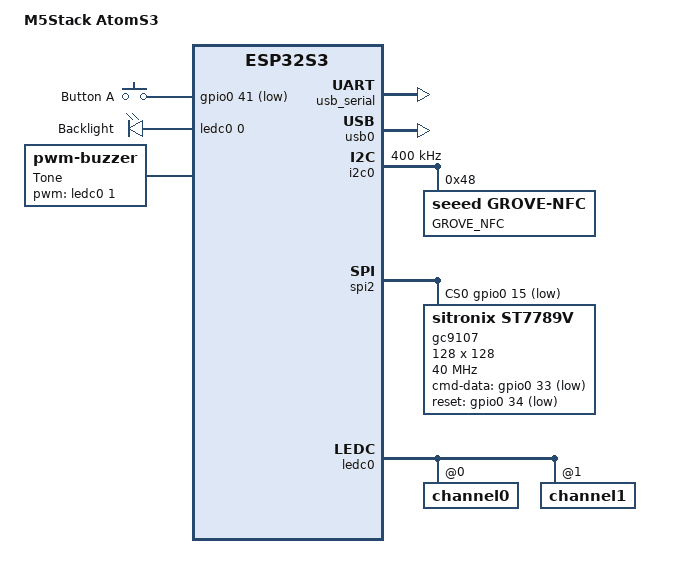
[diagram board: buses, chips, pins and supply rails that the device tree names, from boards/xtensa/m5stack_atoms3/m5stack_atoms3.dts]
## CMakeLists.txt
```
cmake_minimum_required(VERSION 3.20.0)

# Custom board directory (placed alongside app sources, not in Zephyr tree)
set(BOARD_ROOT ${CMAKE_CURRENT_SOURCE_DIR})

find_package(Zephyr REQUIRED HINTS $ENV{ZEPHYR_BASE})
project(grovenfc_zephyr VERSION 1.0.0 LANGUAGES C)

# Custom drivers
add_subdirectory(drivers/grove_nfc)

# Application sources
target_sources(app PRIVATE
    src/main.c
    src/nfc_worker.c
    src/nfc_reader.c
    src/nfc_emulator.c
    src/ui_main.c
    src/storage.c
    src/piano.c
)

target_include_directories(app PRIVATE
    src
    drivers/grove_nfc
)
```

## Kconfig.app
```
menu "GroveNFC Application"

config GROVENFC_APP
    bool "GroveNFC Zephyr Application"
    default y
    help
      Enable the GroveNFC multi-mode NFC application.

config GROVENFC_NFC_POLL_INTERVAL_MS
    int "NFC polling interval (ms)"
    default 200
    depends on GROVENFC_APP
    help
      How often the NFC worker thread polls for cards in reader mode.

config GROVENFC_UI_STACK_SIZE
    int "UI thread stack size (bytes)"
    default 8192
    depends on GROVENFC_APP

config GROVENFC_NFC_STACK_SIZE
    int "NFC worker thread stack size (bytes)"
    default 4096
    depends on GROVENFC_APP

config GROVENFC_PIANO_NOTES
    int "Number of piano note slots"
    default 8
    depends on GROVENFC_APP

endmenu
```

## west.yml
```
manifest:
  version: "0.13"

  defaults:
    remote: zephyrproject

  remotes:
    - name: zephyrproject
      url-base: https://github.com/zephyrproject-rtos

  projects:
    - name: zephyr
      remote: zephyrproject
      revision: v3.7.0
      import:
        # Pull in Zephyr's own west.yml (hal_espressif, mbedtls, lvgl, etc.)
        name-allowlist:
          - cmsis
          - hal_espressif
          - lvgl
          - mbedtls
          - tinycrypt

  self:
    path: grovenfc
    west-commands: scripts/west-commands.yml
```

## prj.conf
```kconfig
# ── Kernel ──────────────────────────────────────────────────────────────────
CONFIG_MAIN_STACK_SIZE=4096
CONFIG_HEAP_MEM_POOL_SIZE=65536
CONFIG_CBPRINTF_FP_SUPPORT=y

# ── Logging ─────────────────────────────────────────────────────────────────
CONFIG_LOG=y
CONFIG_LOG_DEFAULT_LEVEL=3
CONFIG_LOG_BUFFER_SIZE=2048

# ── I2C ─────────────────────────────────────────────────────────────────────
CONFIG_I2C=y

# ── GPIO / Input ─────────────────────────────────────────────────────────────
CONFIG_GPIO=y
CONFIG_INPUT=y
CONFIG_INPUT_GPIO_KEYS=y

# ── SPI (display) ───────────────────────────────────────────────────────────
CONFIG_SPI=y

# ── Display & LVGL ──────────────────────────────────────────────────────────
CONFIG_DISPLAY=y
CONFIG_ST7789V=y

CONFIG_LVGL=y
CONFIG_LV_MEM_SIZE_KILOBYTES=48
CONFIG_LV_USE_LOG=n
CONFIG_LV_USE_LABEL=y
CONFIG_LV_USE_BTN=y
CONFIG_LV_USE_LIST=y
CONFIG_LV_USE_ARC=y
CONFIG_LV_USE_SPINNER=y
CONFIG_LV_USE_BAR=y
CONFIG_LV_USE_MSGBOX=y
CONFIG_LV_USE_TABVIEW=y
CONFIG_LV_FONT_MONTSERRAT_12=y
CONFIG_LV_FONT_MONTSERRAT_14=y
CONFIG_LV_FONT_UNSCII_8=y
CONFIG_LV_COLOR_16_SWAP=y

# ── PWM (backlight + speaker tone) ──────────────────────────────────────────
CONFIG_PWM=y

# ── Flash / NVS (replaces Arduino Preferences) ──────────────────────────────
CONFIG_FLASH=y
CONFIG_FLASH_MAP=y
CONFIG_FLASH_PAGE_LAYOUT=y
CONFIG_NVS=y
CONFIG_SETTINGS=y
CONFIG_SETTINGS_NVS=y

# ── USB CDC (debug console) ──────────────────────────────────────────────────
CONFIG_USB_DEVICE_STACK=y
CONFIG_USB_CDC_ACM=y
CONFIG_UART_LINE_CTRL=y
CONFIG_SERIAL=y
CONFIG_CONSOLE=y
CONFIG_UART_CONSOLE=y

# ── WiFi (ESP32 native) ──────────────────────────────────────────────────────
CONFIG_WIFI=y
CONFIG_ESP32_WIFI=y
CONFIG_NET_L2_ETHERNET=y
CONFIG_NET_L2_WIFI_MGMT=y
CONFIG_NETWORKING=y
CONFIG_NET_IPV4=y
CONFIG_NET_SOCKETS=y
CONFIG_NET_SOCKETS_POSIX_NAMES=y
CONFIG_DNS_RESOLVER=y
CONFIG_NET_TCP=y
CONFIG_NET_UDP=y
CONFIG_NET_DHCPV4=y
CONFIG_NET_MGMT=y
CONFIG_NET_MGMT_EVENT=y

# ── Thread CPU pinning (dual-core: NFC→core0, UI→core1) ─────────────────────
CONFIG_SCHED_CPU_MASK=y

# ── Application ─────────────────────────────────────────────────────────────
CONFIG_GROVENFC_DRIVER=y
CONFIG_GROVENFC_APP=y
```

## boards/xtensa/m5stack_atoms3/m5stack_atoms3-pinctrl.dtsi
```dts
#include <zephyr/dt-bindings/pinctrl/esp32s3-pinctrl.h>

&pinctrl {
	/* ── I2C0: SDA=GPIO2, SCL=GPIO1 (Grove PORT-A) ──────────────────── */
	i2c0_default: i2c0_default {
		group1 {
			pinmux = <I2C0_SDA_GPIO2>,
			         <I2C0_SCL_GPIO1>;
			bias-pull-up;
			drive-open-drain;
			output-high;
		};
	};

	/* ── SPI2: MOSI=GPIO21, SCK=GPIO17, CS=GPIO15 (display) ─────────── */
	spi2_default: spi2_default {
		group1 {
			pinmux = <SPIM2_MOSI_GPIO21>,
			         <SPIM2_SCLK_GPIO17>;
			output-enable;
		};
		group2 {
			pinmux = <SPIM2_CSEL_GPIO15>;
			output-enable;
		};
	};

	/* ── LEDC: CH0=GPIO16 (backlight), CH1=GPIO38 (buzzer) ─────────── */
	ledc0_default: ledc0_default {
		group1 {
			pinmux = <LEDC_CH0_GPIO16>,
			         <LEDC_CH1_GPIO38>;
			output-enable;
		};
	};
};
```

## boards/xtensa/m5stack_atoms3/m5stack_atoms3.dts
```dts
/dts-v1/;

#include <espressif/esp32s3/esp32s3_mini_n8.dtsi>
#include "m5stack_atoms3-pinctrl.dtsi"
#include <zephyr/dt-bindings/input/input-event-codes.h>

/ {
	model = "M5Stack AtomS3";
	compatible = "m5stack,atoms3";

	chosen {
		zephyr,sram    = &sram0;
		zephyr,flash   = &flash0;
		zephyr,console = &cdc_acm_uart0;
		zephyr,shell-uart = &cdc_acm_uart0;
		zephyr,display = &gc9107;
	};

	aliases {
		sw0        = &btn_a;
		watchdog0  = &wdt0;
		pwm-tone   = &pwm_tone;
		pwm-bl     = &pwm_bl;
		grove-nfc  = &grove_nfc;
	};

	/* ── Button ─────────────────────────────────────────────────────── */
	buttons {
		compatible = "gpio-keys";
		btn_a: button_a {
			gpios = <&gpio0 41 (GPIO_PULL_UP | GPIO_ACTIVE_LOW)>;
			label = "Button A";
			zephyr,code = <INPUT_KEY_0>;
		};
	};

	/* ── PWM nodes ──────────────────────────────────────────────────── */
	/*  Channel 0 → backlight (GPIO16)                                   */
	pwm_bl: pwm-backlight {
		compatible = "pwm-leds";
		pwm_bl_ch: pwm_bl_ch {
			pwms = <&ledc0 0 PWM_HZ(1000) PWM_POLARITY_NORMAL>;
			label = "Backlight";
		};
	};

	/*  Channel 1 → piezo/speaker tone (GPIO (choose free pin))         */
	pwm_tone: pwm-tone {
		compatible = "pwm-buzzer";
		pwms = <&ledc0 1 PWM_HZ(1000) PWM_POLARITY_NORMAL>;
		label = "Tone";
	};
};

/* ── USB CDC (virtual serial port) ─────────────────────────────────────── */
&usb_serial {
	status = "okay";
};

zephyr_udc0: &usb0 {
	status = "okay";
	cdc_acm_uart0: cdc_acm_uart0 {
		compatible = "zephyr,cdc-acm-uart";
	};
};

/* ── I2C0: Grove PORT-A (SDA=GPIO2, SCL=GPIO1) ─────────────────────────── */
&i2c0 {
	status = "okay";
	clock-frequency = <I2C_BITRATE_FAST>;  /* 400 kHz */
	pinctrl-0 = <&i2c0_default>;
	pinctrl-names = "default";

	grove_nfc: grove_nfc@48 {
		compatible = "seeed,grove-nfc";
		reg = <0x48>;
		label = "GROVE_NFC";
		status = "okay";
	};
};

/* ── SPI2: GC9107 Display ───────────────────────────────────────────────── */
&spi2 {
	status = "okay";
	pinctrl-0 = <&spi2_default>;
	pinctrl-names = "default";
	cs-gpios = <&gpio0 15 GPIO_ACTIVE_LOW>;

	/* GC9107 is ST7789V-compatible in SPI mode */
	gc9107: gc9107@0 {
		compatible = "sitronix,st7789v";
		reg = <0>;
		spi-max-frequency = <DT_FREQ_M(40)>;
		cmd-data-gpios = <&gpio0 33 GPIO_ACTIVE_LOW>;
		reset-gpios    = <&gpio0 34 GPIO_ACTIVE_LOW>;
		width    = <128>;
		height   = <128>;
		x-offset = <2>;
		y-offset = <1>;
		/* GC9107 init values (tuned for AtomS3 panel) */
		vcom        = <0x19>;
		gctrl       = <0x35>;
		vrhs        = <0x12>;
		vdvs        = <0x20>;
		mdac        = <0x00>;
		gamma       = <0x01>;
		colmod      = <0x55>;    /* 16-bit RGB565 */
		lcm         = <0x2c>;
		porch-param = [0c 0c 00 33 33];
		cmd2en-param = [5a 69 02 01];
		pwctrl1-param = [a4 a1];
		pvgam-param = [D0 08 11 08 08 28 2E 48 41 2D 10 09 09 21 21];
		nvgam-param = [D0 08 10 08 06 06 39 44 51 0B 16 14 2F 31];
		ram-param   = [00 F8];
		rgb-param   = [CD 08 14];
	};
};

/* ── LEDC (PWM) ─────────────────────────────────────────────────────────── */
&ledc0 {
	status = "okay";
	pinctrl-0 = <&ledc0_default>;
	pinctrl-names = "default";
	#address-cells = <1>;
	#size-cells = <0>;

	/* Channel 0: display backlight (GPIO16) */
	channel0@0 {
		reg = <0x0>;
		timer = <0>;
	};

	/* Channel 1: speaker/buzzer tone (GPIO pin chosen at build time) */
	channel1@1 {
		reg = <0x1>;
		timer = <1>;
	};
};

/* ── Flash partitions (8 MB) ────────────────────────────────────────────── */
&flash0 {
	partitions {
		compatible = "fixed-partitions";
		#address-cells = <1>;
		#size-cells = <1>;

		/* Zephyr image (first 6 MB) */
		slot0_partition: partition@10000 {
			label = "image-0";
			reg = <0x00010000 0x5F0000>;
		};

		/* NVS settings storage (last 512 KB) */
		storage_partition: partition@780000 {
			label = "storage";
			reg = <0x00780000 0x80000>;
		};
	};
};
```

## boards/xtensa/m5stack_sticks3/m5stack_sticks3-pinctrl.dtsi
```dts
#include <zephyr/dt-bindings/pinctrl/esp32s3-pinctrl.h>

&pinctrl {
	/* I2C0: SDA=GPIO9, SCL=GPIO10 (StickS3 Grove port) */
	i2c0_default: i2c0_default {
		group1 {
			pinmux = <I2C0_SDA_GPIO9>,
			         <I2C0_SCL_GPIO10>;
			bias-pull-up;
			drive-open-drain;
			output-high;
		};
	};

	/* SPI2: display (verify actual StickS3 pins from schematic) */
	spi2_default: spi2_default {
		group1 {
			pinmux = <SPIM2_MOSI_GPIO13>,
			         <SPIM2_SCLK_GPIO14>;
			output-enable;
		};
		group2 {
			pinmux = <SPIM2_CSEL_GPIO12>;
			output-enable;
		};
	};

	/* LEDC: CH0 = backlight */
	ledc0_default: ledc0_default {
		group1 {
			pinmux = <LEDC_CH0_GPIO27>;
			output-enable;
		};
	};
};
```

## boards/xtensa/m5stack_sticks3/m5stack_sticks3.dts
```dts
/dts-v1/;

#include <espressif/esp32s3/esp32s3_fn8.dtsi>
#include "m5stack_sticks3-pinctrl.dtsi"
#include <zephyr/dt-bindings/input/input-event-codes.h>

/ {
	model = "M5Stack StickS3";
	compatible = "m5stack,sticks3";

	chosen {
		zephyr,sram    = &sram0;
		zephyr,flash   = &flash0;
		zephyr,console = &cdc_acm_uart0;
		zephyr,shell-uart = &cdc_acm_uart0;
		zephyr,display = &st7789;
	};

	aliases {
		sw0       = &btn_a;
		sw1       = &btn_b;
		grove-nfc = &grove_nfc;
		pwm-tone  = &pwm_tone;
	};

	buttons {
		compatible = "gpio-keys";
		btn_a: button_a {
			gpios = <&gpio0 37 (GPIO_PULL_UP | GPIO_ACTIVE_LOW)>;
			label = "Button A";
			zephyr,code = <INPUT_KEY_0>;
		};
		btn_b: button_b {
			gpios = <&gpio0 39 (GPIO_PULL_UP | GPIO_ACTIVE_LOW)>;
			label = "Button B";
			zephyr,code = <INPUT_KEY_1>;
		};
	};

	pwm_tone: pwm-tone {
		compatible = "pwm-buzzer";
		pwms = <&ledc0 1 PWM_HZ(1000) PWM_POLARITY_NORMAL>;
		label = "Tone";
	};
};

&usb0 {
	status = "okay";
	cdc_acm_uart0: cdc_acm_uart0 {
		compatible = "zephyr,cdc-acm-uart";
	};
};

&i2c0 {
	status = "okay";
	clock-frequency = <I2C_BITRATE_FAST>;
	pinctrl-0 = <&i2c0_default>;
	pinctrl-names = "default";

	grove_nfc: grove_nfc@48 {
		compatible = "seeed,grove-nfc";
		reg = <0x48>;
		label = "GROVE_NFC";
		status = "okay";
	};
};

&spi2 {
	status = "okay";
	pinctrl-0 = <&spi2_default>;
	pinctrl-names = "default";
	cs-gpios = <&gpio0 12 GPIO_ACTIVE_LOW>;

	st7789: st7789@0 {
		compatible = "sitronix,st7789v";
		reg = <0>;
		spi-max-frequency = <DT_FREQ_M(40)>;
		cmd-data-gpios = <&gpio0 11 GPIO_ACTIVE_LOW>;
		reset-gpios    = <&gpio0 15 GPIO_ACTIVE_LOW>;
		width    = <135>;
		height   = <240>;
		x-offset = <52>;
		y-offset = <40>;
		vcom     = <0x2B>;
		gctrl    = <0x35>;
		vrhs     = <0x0F>;
		vdvs     = <0x20>;
		mdac     = <0x00>;
		gamma    = <0x01>;
		colmod   = <0x55>;
		lcm      = <0x2C>;
		porch-param  = [0c 0c 00 33 33];
		cmd2en-param = [5a 69 02 c3];
		pwctrl1-param = [52 A1];
		pvgam-param  = [D0 08 0F 0A 0A 26 2D 44 4B 39 14 13 25 2A];
		nvgam-param  = [D0 08 10 09 09 25 2C 43 4C 38 15 13 24 29];
		ram-param    = [00 F8];
		rgb-param    = [CD 08 14];
	};
};

&ledc0 {
	status = "okay";
	pinctrl-0 = <&ledc0_default>;
	pinctrl-names = "default";
	#address-cells = <1>;
	#size-cells = <0>;
	channel0@0 { reg = <0x0>; timer = <0>; };
	channel1@1 { reg = <0x1>; timer = <1>; };
};

&flash0 {
	partitions {
		compatible = "fixed-partitions";
		#address-cells = <1>;
		#size-cells = <1>;
		slot0_partition: partition@10000 {
			label = "image-0";
			reg = <0x00010000 0x5F0000>;
		};
		storage_partition: partition@780000 {
			label = "storage";
			reg = <0x00780000 0x80000>;
		};
	};
};
```

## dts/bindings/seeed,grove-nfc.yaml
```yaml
/* dts binding: seeed,grove-nfc */
description: Seeed Grove NFC module (I2C register-mapped NFC front-end)

compatible: "seeed,grove-nfc"

include: i2c-device.yaml

properties:
  label:
    type: string
    required: false
```

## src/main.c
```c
/*
 * main.c — GroveNFC Zephyr application entry point.
 *
 * Boot sequence:
 *   1. Initialise storage (NVS)
 *   2. Initialise piano (load card→note mappings)
 *   3. Power on display backlight via PWM
 *   4. Start NFC worker thread (Core 0)
 *   5. Start LVGL UI thread (Core 1)
 *   6. Return — the main thread exits and Zephyr manages the rest.
 */

#include <zephyr/kernel.h>
#include <zephyr/device.h>
#include <zephyr/drivers/pwm.h>
#include <zephyr/drivers/display.h>
#include <zephyr/logging/log.h>
#include <lvgl.h>

#include "nfc_worker.h"
#include "ui_main.h"
#include "storage.h"
#include "piano.h"

LOG_MODULE_REGISTER(main, CONFIG_LOG_DEFAULT_LEVEL);

/* ── Backlight (PWM alias `backlight` in DTS) ───────────────────────────── */
#define BL_NODE DT_ALIAS(pwm_bl)

#if DT_NODE_HAS_STATUS(BL_NODE, okay)
static const struct pwm_dt_spec s_bl = PWM_DT_SPEC_GET(BL_NODE);

static void backlight_set(uint8_t pct)
{
    if (!device_is_ready(s_bl.dev)) return;
    uint32_t period_ns = 1000000u; /* 1 kHz */
    uint32_t pulse_ns  = (uint32_t)(period_ns / 100u) * pct;
    pwm_set_dt(&s_bl, period_ns, pulse_ns);
}
#else
static void backlight_set(uint8_t pct) { ARG_UNUSED(pct); }
#endif

/* ── Display init ───────────────────────────────────────────────────────── */
static void display_init(void)
{
    const struct device *display = DEVICE_DT_GET(DT_CHOSEN(zephyr_display));
    if (!device_is_ready(display)) {
        LOG_ERR("Display not ready");
        return;
    }
    display_blanking_off(display);
    backlight_set(80);
    LOG_INF("Display ready");
}

/* ── Entry point ────────────────────────────────────────────────────────── */

int main(void)
{
    LOG_INF("GroveNFC Zephyr starting");

    /* 1. Storage */
    if (storage_init() != 0) {
        LOG_WRN("Storage init failed — running without persistence");
    }

    /* 2. Piano */
    piano_init();

    /* 3. Display + backlight */
    display_init();

    /* 4. NFC worker (Core 0) */
    if (nfc_worker_init() != 0) {
        LOG_ERR("NFC worker init failed");
    }

    /* 5. UI thread (Core 1) */
    ui_main_start();

    LOG_INF("Boot complete");
    return 0;
}
```

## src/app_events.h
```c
/*
 * app_events.h — Shared event types between NFC worker and UI threads.
 *
 * Uses Zephyr k_msgq for lock-free single-producer/consumer queues.
 * Structs are kept small (≤64 bytes) so the message queues don't waste RAM.
 */
#ifndef APP_EVENTS_H_
#define APP_EVENTS_H_

#include <zephyr/kernel.h>
#include <stdint.h>
#include <stdbool.h>

#ifdef __cplusplus
extern "C" {
#endif

/* ── Card info ─────────────────────────────────────────────────────────── */
#define CARD_PROTO_LEN  16
#define CARD_UID_LEN    32
#define CARD_DETAIL_LEN 48

struct card_info {
    char  protocol[CARD_PROTO_LEN];
    char  uid[CARD_UID_LEN];
    char  detail[CARD_DETAIL_LEN];
    bool  valid;
};

/* ── Commands: UI → NFC worker ─────────────────────────────────────────── */
enum nfc_cmd_type {
    NFC_CMD_NONE = 0,
    NFC_CMD_START_EMU,
    NFC_CMD_STOP_RF,
    NFC_CMD_DIAGNOSE,
    NFC_CMD_SCAN_NDEF,
    NFC_CMD_RECOVER,
    NFC_CMD_SET_14B_ONLY,
};

struct nfc_cmd {
    enum nfc_cmd_type type;
    uint8_t  emu_type;   /* EmuType enum value (for START_EMU) */
    uint8_t  emu_slot;   /* slot index */
    bool     flag;       /* generic flag (e.g. 14B-only mode) */
};

/* ── Results: NFC worker → UI ──────────────────────────────────────────── */
enum nfc_result_type {
    NFC_RES_CARD = 0,
    NFC_RES_NO_CARD,
    NFC_RES_NDEF,
    NFC_RES_DIAGNOSE,
    NFC_RES_HEALTH,
    NFC_RES_CMD_DONE,
};

#define NFC_DIAG_LEN  128
#define NFC_NDEF_LEN  96

struct nfc_result {
    enum nfc_result_type type;
    struct card_info card;          /* valid for CARD */
    char   ndef_text[NFC_NDEF_LEN]; /* valid for NDEF */
    char   ndef_detail[48];
    char   diag_report[NFC_DIAG_LEN]; /* valid for DIAGNOSE */
    bool   ok;
    uint16_t hw_ver;
    uint16_t fw_ver;
    bool   health_lost;
    bool   health_reconnected;
};

/* ── Emulation type enum (matches Arduino EmuType) ──────────────────────── */
typedef enum {
    EMU_MF1K   = 0,
    EMU_N213   = 1,
    EMU_N215   = 2,
    EMU_N216   = 3,
    EMU_ISO14B = 4,
    EMU_FELICA = 5,
    EMU_ISO15  = 6,
    EMU_COUNT,
} emu_type_t;

/* ── Menu page enum ──────────────────────────────────────────────────────── */
typedef enum {
    PAGE_READER  = 0,
    PAGE_NDEF    = 1,
    PAGE_EMU     = 2,
    PAGE_PIANO   = 3,
    PAGE_DIAG    = 4,
    PAGE_COUNT,
} app_page_t;

/* ── Queue accessors (defined in nfc_worker.c) ──────────────────────────── */
extern struct k_msgq nfc_cmd_q;    /* app → nfc worker */
extern struct k_msgq nfc_result_q; /* nfc worker → app */

#ifdef __cplusplus
}
#endif

#endif /* APP_EVENTS_H_ */
```

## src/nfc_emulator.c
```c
/*
 * nfc_emulator.c — NFC tag emulation (Zephyr port).
 *
 * Grove NFC module emulation is configured by:
 *   1. Writing the tag image to EEPROM (I2cEpromReg_Addr = 0x1000).
 *   2. Writing SetTagAddr + SetMode registers.
 *   3. The module then responds autonomously to RF; no CPU intervention needed
 *      beyond keeping the I2C bus alive.
 *
 * BCC (XOR) computation for NTAG UID bytes mirrors the Arduino source.
 */

#include <zephyr/kernel.h>
#include <zephyr/logging/log.h>
#include <string.h>
#include <stdint.h>

#include "nfc_emulator.h"
#include "grove_nfc.h"

LOG_MODULE_REGISTER(nfc_emulator, CONFIG_LOG_DEFAULT_LEVEL);

/* ── EEPROM tag image header constants ─────────────────────────────────── */

static const uint8_t kNtag213Hdr[] = {
    0x04, 0x31, 0x1D, 0xA0, 0x01, 0x17, 0x45, 0x03,
    0x50, 0x48, 0x00, 0x00, 0xE1, 0x10, 0x12, 0x00,
    0x01, 0x03, 0xA0, 0x0C, 0x34, 0x03, 0x00, 0xFE,
};
static const uint8_t kNtag215Hdr[] = {
    0x04, 0x31, 0x1D, 0xA0, 0x01, 0x17, 0x45, 0x03,
    0x50, 0x48, 0x00, 0x00, 0xE1, 0x10, 0x3E, 0x00,
    0x03, 0x00, 0xFE, 0x00, 0x00, 0x00, 0x00, 0x00,
};
static const uint8_t kNtag216Hdr[] = {
    0x04, 0x31, 0x1D, 0xA0, 0x01, 0x17, 0x45, 0x03,
    0x50, 0x48, 0x00, 0x00, 0xE1, 0x10, 0x6D, 0x00,
    0x03, 0x00, 0xFE, 0x00, 0x00, 0x00, 0x00, 0x00,
};
static const uint8_t kMf1kHdr[] = {
    0x64, 0x5E, 0xE5, 0x6A, 0xB5, 0x08, 0x04, 0x00,
    0x04, 0x48, 0xE5, 0x87, 0x7D, 0x91, 0xD9, 0x90,
    0x00, 0x00, 0x00, 0x00, 0x00, 0x00, 0x00, 0x00,
    0x00, 0x00, 0x00, 0x00, 0x00, 0x00, 0x00, 0x00,
    0x00, 0x00, 0x00, 0x00, 0x00, 0x00, 0x00, 0x00,
    0x00, 0x00, 0x00, 0x00, 0x00, 0x00, 0x00, 0x00,
    0xFF, 0xFF, 0xFF, 0xFF, 0xFF, 0xFF, 0xFF, 0x07,
    0x80, 0x69, 0xFF, 0xFF, 0xFF, 0xFF, 0xFF, 0xFF,
};
static const uint8_t kMf1kSector[] = {
    0x00, 0x00, 0x00, 0x00, 0x00, 0x00, 0x00, 0x00,
    0x00, 0x00, 0x00, 0x00, 0x00, 0x00, 0x00, 0x00,
    0x00, 0x00, 0x00, 0x00, 0x00, 0x00, 0x00, 0x00,
    0x00, 0x00, 0x00, 0x00, 0x00, 0x00, 0x00, 0x00,
    0x00, 0x00, 0x00, 0x00, 0x00, 0x00, 0x00, 0x00,
    0x00, 0x00, 0x00, 0x00, 0x00, 0x00, 0x00, 0x00,
    0xFF, 0xFF, 0xFF, 0xFF, 0xFF, 0xFF, 0xFF, 0x07,
    0x80, 0x69, 0xFF, 0xFF, 0xFF, 0xFF, 0xFF, 0xFF,
};
static const uint8_t kISO15Hdr[] = {
    0xC1, 0xC6, 0x02, 0xB9, 0x50, 0x00, 0x07, 0xE0,
    0x00, 0x00, 0x00, 0x00, 0x00, 0x00, 0x00, 0x00,
};

/* Tag EEPROM base addresses */
#define TAG_ADDR_NTAG213 0x0000u
#define TAG_ADDR_NTAG215 0x1000u
#define TAG_ADDR_NTAG216 0x2000u
#define TAG_ADDR_MF1K    0x3000u
#define TAG_ADDR_ISO15   0x7000u
#define TAG_ADDR_14B     0x0000u

static bool s_active = false;

/* ── Helpers ────────────────────────────────────────────────────────────── */

static uint8_t apply_slot_nibble(uint8_t val, uint8_t slot)
{
    return (uint8_t)((val & 0xF0u) | (((val & 0x0Fu) + (slot & 0x0Fu)) & 0x0Fu));
}

static void update_ntag_bcc(uint8_t *hdr, size_t len)
{
    if (len < 9) return;
    hdr[3] = 0x88u ^ hdr[0] ^ hdr[1] ^ hdr[2]; /* BCC0 */
    hdr[8] = hdr[4] ^ hdr[5] ^ hdr[6] ^ hdr[7]; /* BCC1 */
}

static bool write_ntag_image(const struct device *dev,
                              const uint8_t *hdr, size_t hdr_len,
                              uint16_t tag_addr, uint16_t mode_tag)
{
    uint8_t buf[24];
    memcpy(buf, hdr, hdr_len);

    grove_nfc_write_sys_reg(dev, GNFC_REG_MODE,
                            GNFC_MODE_DEFAULT | GNFC_MODE_TAG_NONE);
    k_msleep(2);
    grove_nfc_write_sys_reg(dev, GNFC_REG_TAG_ADDR, tag_addr);
    k_msleep(2);
    grove_nfc_write_data(dev, GNFC_REG_EEPROM, buf, (uint16_t)hdr_len);
    k_msleep(2);
    grove_nfc_write_misc_reg(dev, GNFC_REG_EP_WRITE, GNFC_EP_WRITE);
    k_msleep(GNFC_EEPROM_WRITE_MS_SHORT);

    grove_nfc_set_rf(dev, false);
    grove_nfc_write_sys_reg(dev, GNFC_REG_MODE,
                            GNFC_MODE_DEFAULT | GNFC_MODE_TAG_NONE);
    k_msleep(5);
    grove_nfc_write_sys_reg(dev, GNFC_REG_TAG_ADDR, tag_addr);
    k_msleep(5);
    return grove_nfc_write_sys_reg(dev, GNFC_REG_MODE,
                                   GNFC_MODE_DEFAULT | mode_tag) == 0;
}

/* ── Public API ─────────────────────────────────────────────────────────── */

bool nfc_emulator_start(const struct device *dev,
                        emu_type_t type, uint8_t slot)
{
    s_active = false;

    switch (type) {
    case EMU_N213: {
        uint8_t hdr[sizeof(kNtag213Hdr)];
        memcpy(hdr, kNtag213Hdr, sizeof(hdr));
        hdr[7] = apply_slot_nibble(hdr[7], slot);
        update_ntag_bcc(hdr, sizeof(hdr));
        s_active = write_ntag_image(dev, hdr, sizeof(hdr),
                                    TAG_ADDR_NTAG213, GNFC_MODE_TAG | GNFC_MODE_TAG_NTAG213);
        break;
    }
    case EMU_N215: {
        uint8_t hdr[sizeof(kNtag215Hdr)];
        memcpy(hdr, kNtag215Hdr, sizeof(hdr));
        hdr[7] = apply_slot_nibble(hdr[7], slot);
        update_ntag_bcc(hdr, sizeof(hdr));
        s_active = write_ntag_image(dev, hdr, sizeof(hdr),
                                    TAG_ADDR_NTAG215, GNFC_MODE_TAG | GNFC_MODE_TAG_NTAG215);
        break;
    }
    case EMU_N216: {
        uint8_t hdr[sizeof(kNtag216Hdr)];
        memcpy(hdr, kNtag216Hdr, sizeof(hdr));
        hdr[7] = apply_slot_nibble(hdr[7], slot);
        update_ntag_bcc(hdr, sizeof(hdr));
        s_active = write_ntag_image(dev, hdr, sizeof(hdr),
                                    TAG_ADDR_NTAG216, GNFC_MODE_TAG | GNFC_MODE_TAG_NTAG216);
        break;
    }
    case EMU_MF1K: {
        /* Write sector 0 header */
        uint8_t hdr[sizeof(kMf1kHdr)];
        memcpy(hdr, kMf1kHdr, sizeof(hdr));
        hdr[3] = apply_slot_nibble(hdr[3], slot);
        hdr[4] = hdr[0] ^ hdr[1] ^ hdr[2] ^ hdr[3]; /* BCC */

        grove_nfc_write_sys_reg(dev, GNFC_REG_MODE,
                                GNFC_MODE_DEFAULT | GNFC_MODE_TAG_NONE);
        k_msleep(2);
        grove_nfc_write_sys_reg(dev, GNFC_REG_TAG_ADDR, TAG_ADDR_MF1K);
        k_msleep(2);
        grove_nfc_write_data(dev, GNFC_REG_EEPROM, hdr, sizeof(hdr));
        k_msleep(2);
        /* Write sectors 1-15 */
        for (uint16_t sec = 1; sec < 16; ++sec) {
            grove_nfc_write_data(dev, GNFC_REG_EEPROM + (sec << 6),
                                 kMf1kSector, sizeof(kMf1kSector));
            k_msleep(2);
        }
        grove_nfc_write_misc_reg(dev, GNFC_REG_EP_WRITE, GNFC_EP_WRITE);
        k_msleep(GNFC_EEPROM_WRITE_MS_MF1K);

        grove_nfc_set_rf(dev, false);
        grove_nfc_write_sys_reg(dev, GNFC_REG_MODE,
                                GNFC_MODE_DEFAULT | GNFC_MODE_TAG_NONE);
        k_msleep(5);
        grove_nfc_write_sys_reg(dev, GNFC_REG_TAG_ADDR, TAG_ADDR_MF1K);
        k_msleep(5);
        s_active = grove_nfc_write_sys_reg(dev, GNFC_REG_MODE,
                       GNFC_MODE_DEFAULT | GNFC_MODE_TAG_MF1_1K) == 0;
        break;
    }
    case EMU_ISO14B: {
        /* China-II (ISO14443B) tag emulation */
        grove_nfc_set_rf(dev, false);
        grove_nfc_write_sys_reg(dev, GNFC_REG_MODE,
                                GNFC_MODE_DEFAULT | GNFC_MODE_TAG_NONE);
        k_msleep(5);
        grove_nfc_write_sys_reg(dev, GNFC_REG_TAG_ADDR, TAG_ADDR_14B);
        k_msleep(5);
        s_active = grove_nfc_write_sys_reg(dev, GNFC_REG_MODE,
                       GNFC_MODE_DEFAULT | GNFC_MODE_TAG_CHINA_II) == 0;
        break;
    }
    case EMU_ISO15: {
        uint8_t hdr[sizeof(kISO15Hdr)];
        memcpy(hdr, kISO15Hdr, sizeof(hdr));
        hdr[0] = apply_slot_nibble(hdr[0], slot);

        grove_nfc_write_sys_reg(dev, GNFC_REG_MODE,
                                GNFC_MODE_DEFAULT | GNFC_MODE_TAG_NONE);
        k_msleep(2);
        grove_nfc_write_sys_reg(dev, GNFC_REG_TAG_ADDR, TAG_ADDR_ISO15);
        k_msleep(2);
        grove_nfc_write_data(dev, GNFC_REG_EEPROM, hdr, sizeof(hdr));
        k_msleep(2);
        grove_nfc_write_misc_reg(dev, GNFC_REG_EP_WRITE, GNFC_EP_WRITE);
        k_msleep(GNFC_EEPROM_WRITE_MS_SHORT);

        grove_nfc_set_rf(dev, false);
        grove_nfc_write_sys_reg(dev, GNFC_REG_MODE,
                                GNFC_MODE_DEFAULT | GNFC_MODE_TAG_NONE);
        k_msleep(5);
        grove_nfc_write_sys_reg(dev, GNFC_REG_TAG_ADDR, TAG_ADDR_ISO15);
        k_msleep(5);
        s_active = grove_nfc_write_sys_reg(dev, GNFC_REG_MODE,
                       GNFC_MODE_DEFAULT | GNFC_MODE_TAG_ISLI) == 0;
        break;
    }
    case EMU_FELICA:
        /* FeliCa emulation not supported by the Grove NFC module firmware. */
        LOG_WRN("FeliCa emulation not supported on Grove NFC hardware");
        s_active = false;
        break;
    default:
        s_active = false;
        break;
    }

    if (s_active) {
        LOG_INF("Emulation started: type=%d slot=%d", type, slot);
    }
    return s_active;
}

void nfc_emulator_stop(const struct device *dev)
{
    if (!s_active) return;
    grove_nfc_set_rf(dev, false);
    grove_nfc_write_sys_reg(dev, GNFC_REG_MODE,
                            GNFC_MODE_DEFAULT | GNFC_MODE_TAG_NONE);
    s_active = false;
    LOG_INF("Emulation stopped");
}

void nfc_emulator_tick(const struct device *dev)
{
    /*
     * The Grove NFC module handles tag emulation in hardware once configured;
     * no CPU-side state machine tick is required.
     * A future version could poll the status register here for "tag selected"
     * notifications if the firmware supports them.
     */
    ARG_UNUSED(dev);
}

bool nfc_emulator_is_active(void)
{
    return s_active;
}
```

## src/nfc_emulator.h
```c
/*
 * nfc_emulator.h — NFC tag emulation API (Zephyr port).
 */
#ifndef NFC_EMULATOR_H_
#define NFC_EMULATOR_H_

#include <zephyr/device.h>
#include "app_events.h"

#ifdef __cplusplus
extern "C" {
#endif

/**
 * @brief Start emulating a tag type on the given slot.
 * @return true on success.
 */
bool nfc_emulator_start(const struct device *dev,
                        emu_type_t type, uint8_t slot);

/**
 * @brief Stop emulation and put the module back to idle.
 */
void nfc_emulator_stop(const struct device *dev);

/**
 * @brief Drive the emulation state machine (call ~10 ms tick from worker).
 * For Grove NFC hardware the module handles emulation autonomously, so this
 * is a no-op in the current implementation.
 */
void nfc_emulator_tick(const struct device *dev);

/**
 * @brief Return true if emulation is currently active.
 */
bool nfc_emulator_is_active(void);

#ifdef __cplusplus
}
#endif

#endif /* NFC_EMULATOR_H_ */
```

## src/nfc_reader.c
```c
/*
 * nfc_reader.c — ISO14443A/B, ISO15693, FeliCa reader (Zephyr port).
 *
 * Direct translation of the Arduino GroveNFC.cpp reader path to Zephyr I2C
 * calls via the grove_nfc driver.  All timing is replaced with k_msleep().
 */

#include <zephyr/kernel.h>
#include <zephyr/logging/log.h>
#include <string.h>
#include <stdio.h>

#include "nfc_reader.h"
#include "grove_nfc.h"

LOG_MODULE_REGISTER(nfc_reader, CONFIG_LOG_DEFAULT_LEVEL);

/* ── Internal helpers ───────────────────────────────────────────────────── */

static void bytes_to_hex(const uint8_t *data, size_t len,
                         char *out, size_t out_sz, bool reverse)
{
    static const char *HEX = "0123456789ABCDEF";
    size_t pos = 0;
    for (size_t i = 0; i < len && pos + 3 < out_sz; ++i) {
        if (i) out[pos++] = ':';
        uint8_t b = reverse ? data[len - 1 - i] : data[i];
        out[pos++] = HEX[(b >> 4) & 0xF];
        out[pos++] = HEX[b & 0xF];
    }
    out[pos] = '\0';
}

static void bytes_to_hex_compact(const uint8_t *data, size_t len,
                                 char *out, size_t out_sz)
{
    static const char *HEX = "0123456789ABCDEF";
    size_t pos = 0;
    for (size_t i = 0; i < len && pos + 2 < out_sz; ++i) {
        out[pos++] = HEX[(data[i] >> 4) & 0xF];
        out[pos++] = HEX[data[i] & 0xF];
    }
    out[pos] = '\0';
}

/* Enter reader mode (common setup before any protocol scan). */
static int select_reader_common(const struct device *dev)
{
    int rc;
    grove_nfc_set_rf(dev, false);
    k_msleep(2);
    rc = grove_nfc_write_sys_reg(dev, GNFC_REG_MODE,
                                 GNFC_MODE_DEFAULT | GNFC_MODE_TAG_NONE);
    if (rc) return rc;
    k_msleep(5);
    rc = grove_nfc_write_sys_reg(dev, GNFC_REG_MODE,
                                 GNFC_MODE_READER | GNFC_MODE_TAG_NONE);
    if (rc) return rc;
    grove_nfc_write_misc_reg(dev, GNFC_REG_THRU,        GNFC_THRU_OFF);
    grove_nfc_write_misc_reg(dev, GNFC_REG_TX_LAST_BIT, GNFC_TLB_0);
    return 0;
}

/* ── ISO14443A ──────────────────────────────────────────────────────────── */

static bool read_iso14a(const struct device *dev, struct card_info *card)
{
    if (select_reader_common(dev) != 0) return false;

    grove_nfc_write_sys_reg(dev, GNFC_REG_RF_CFG,
                            GNFC_RFCFG_RD_14A | GNFC_RFCFG_TAG_14A);
    grove_nfc_write_sys_reg(dev, GNFC_REG_FWI, 0x0009);
    grove_nfc_write_sys_reg(dev, GNFC_REG_TX_CRC_EN, GNFC_CRC_DISABLE);
    grove_nfc_write_sys_reg(dev, GNFC_REG_RX_CRC_EN, GNFC_CRC_DISABLE);
    grove_nfc_write_misc_reg(dev, GNFC_REG_TX_LAST_BIT, GNFC_TLB_7);
    grove_nfc_set_rf(dev, true);
    k_msleep(5);

    uint8_t rx[64] = {0};
    uint16_t rx_len = sizeof(rx);

    /* REQA */
    const uint8_t reqa[] = {0x52};
    if (grove_nfc_txrx(dev, reqa, 1, rx, &rx_len, 10) != 0) return false;

    grove_nfc_write_misc_reg(dev, GNFC_REG_TX_LAST_BIT, GNFC_TLB_0);

    /* Anti-collision CL1 */
    const uint8_t ac1[] = {0x93, 0x20};
    rx_len = sizeof(rx);
    if (grove_nfc_txrx(dev, ac1, 2, rx, &rx_len, 10) != 0 || rx_len < 5)
        return false;

    uint8_t uid_cl1[4] = {rx[0], rx[1], rx[2], rx[3]};
    uint8_t bcc1 = rx[4];

    grove_nfc_write_sys_reg(dev, GNFC_REG_TX_CRC_EN, GNFC_CRC_14A);
    grove_nfc_write_sys_reg(dev, GNFC_REG_RX_CRC_EN, GNFC_CRC_14A);

    /* SELECT CL1 */
    const uint8_t sel1[] = {0x93, 0x70,
                             uid_cl1[0], uid_cl1[1], uid_cl1[2], uid_cl1[3], bcc1};
    rx_len = sizeof(rx);
    if (grove_nfc_txrx(dev, sel1, 7, rx, &rx_len, 10) != 0) return false;
    uint8_t sak = rx[0];

    uint8_t uid_buf[7];
    size_t uid_len;
    bool cascade = (uid_cl1[0] == 0x88);

    if (!cascade) {
        memcpy(uid_buf, uid_cl1, 4);
        uid_len = 4;
    } else {
        grove_nfc_write_sys_reg(dev, GNFC_REG_TX_CRC_EN, GNFC_CRC_DISABLE);
        grove_nfc_write_sys_reg(dev, GNFC_REG_RX_CRC_EN, GNFC_CRC_DISABLE);
        const uint8_t ac2[] = {0x95, 0x20};
        rx_len = sizeof(rx);
        if (grove_nfc_txrx(dev, ac2, 2, rx, &rx_len, 10) != 0 || rx_len < 5)
            return false;
        uint8_t bcc2 = rx[4];
        grove_nfc_write_sys_reg(dev, GNFC_REG_TX_CRC_EN, GNFC_CRC_14A);
        grove_nfc_write_sys_reg(dev, GNFC_REG_RX_CRC_EN, GNFC_CRC_14A);
        const uint8_t sel2[] = {0x95, 0x70, rx[0], rx[1], rx[2], rx[3], bcc2};
        rx_len = sizeof(rx);
        if (grove_nfc_txrx(dev, sel2, 7, rx, &rx_len, 10) != 0) return false;
        sak = rx[0];
        uid_buf[0] = uid_cl1[1]; uid_buf[1] = uid_cl1[2]; uid_buf[2] = uid_cl1[3];
        uid_buf[3] = sel2[2];    uid_buf[4] = sel2[3];
        uid_buf[5] = sel2[4];    uid_buf[6] = sel2[5];
        uid_len = 7;
    }

    bytes_to_hex(uid_buf, uid_len, card->uid, sizeof(card->uid), false);
    card->valid = true;

    /* Identify subtype by SAK, then GET_VERSION for SAK=0x00 */
    char sak_str[8];
    snprintf(sak_str, sizeof(sak_str), "SAK:%02X", sak);

    static const struct { uint8_t sak; const char *proto; const char *detail_sfx; } sak_map[] = {
        {0x08, "MFC1K",   "MIFARE Classic 1K"},
        {0x18, "MFC4K",   "MIFARE Classic 4K"},
        {0x09, "MFCMini", "MIFARE Classic Mini"},
        {0x10, "MFPlus2K","MIFARE Plus 2K"},
        {0x11, "MFPlus4K","MIFARE Plus 4K"},
        {0x20, "DESFire", "DESFire/JCOP"},
        {0x28, "DESFire", "DESFire/JCOP CL2"},
    };
    for (size_t i = 0; i < ARRAY_SIZE(sak_map); ++i) {
        if (sak_map[i].sak == sak) {
            strncpy(card->protocol, sak_map[i].proto, sizeof(card->protocol) - 1);
            snprintf(card->detail, sizeof(card->detail), "%s %s",
                     sak_str, sak_map[i].detail_sfx);
            return true;
        }
    }

    if (sak == 0x00) {
        /* NTAG / Ultralight: try GET_VERSION (0x60) */
        const uint8_t get_ver[] = {0x60};
        rx_len = sizeof(rx);
        if (grove_nfc_txrx(dev, get_ver, 1, rx, &rx_len, 15) == 0 && rx_len >= 8) {
            uint8_t ic  = rx[2];
            uint8_t sz  = rx[6];
            if (ic == 0x04) {
                const char *p = "NTAG";
                if      (sz == 0x0F) p = "NTAG213";
                else if (sz == 0x11) p = "NTAG215";
                else if (sz == 0x13) p = "NTAG216";
                strncpy(card->protocol, p, sizeof(card->protocol) - 1);
            } else {
                const char *p = "MFUL";
                if      (sz == 0x0B) p = "MFUL11";
                else if (sz == 0x0E) p = "MFUL21";
                strncpy(card->protocol, p, sizeof(card->protocol) - 1);
            }
            snprintf(card->detail, sizeof(card->detail),
                     "%s ic=0x%02X sz=0x%02X", sak_str, ic, sz);
            return true;
        }
        /* Fallback: NTAG203 */
        strncpy(card->protocol, "NTAG203", sizeof(card->protocol) - 1);
        snprintf(card->detail, sizeof(card->detail), "%s NTAG203", sak_str);
        return true;
    }

    strncpy(card->protocol, "ISO14443A", sizeof(card->protocol) - 1);
    snprintf(card->detail, sizeof(card->detail), "%s %zuB UID",
             sak_str, uid_len);
    return true;
}

/* ── ISO14443B ──────────────────────────────────────────────────────────── */

static bool read_iso14b_once(const struct device *dev, struct card_info *card)
{
    grove_nfc_set_rf(dev, false);
    grove_nfc_write_sys_reg(dev, GNFC_REG_MODE,
                            GNFC_MODE_DEFAULT | GNFC_MODE_TAG_NONE);
    k_msleep(10);
    grove_nfc_write_sys_reg(dev, GNFC_REG_MODE,
                            GNFC_MODE_READER | GNFC_MODE_TAG_NONE);
    grove_nfc_write_sys_reg(dev, GNFC_REG_RF_CFG,
                            GNFC_RFCFG_RD_14B | GNFC_RFCFG_TAG_14B);
    grove_nfc_write_sys_reg(dev, GNFC_REG_FWI,        0x0000);
    grove_nfc_write_sys_reg(dev, GNFC_REG_TX_CRC_EN,  GNFC_CRC_14B);
    grove_nfc_write_sys_reg(dev, GNFC_REG_RX_CRC_EN,  GNFC_CRC_14B);
    grove_nfc_write_misc_reg(dev, GNFC_REG_TX_LAST_BIT, GNFC_TLB_0);
    grove_nfc_write_misc_reg(dev, GNFC_REG_EGT,        GNFC_EGT_6);
    grove_nfc_write_misc_reg(dev, GNFC_REG_THRU,       GNFC_THRU_OFF);
    grove_nfc_set_rf(dev, true);
    k_msleep(10);

    uint8_t rx[128] = {0};
    uint16_t rx_len;

    /* REQB with AFI=0x00 */
    const uint8_t reqb[] = {0x05, 0x00, 0x00};
    rx_len = sizeof(rx);
    if (grove_nfc_txrx(dev, reqb, 3, rx, &rx_len, 20) != 0) {
        grove_nfc_set_rf(dev, false);
        return false;
    }

    /* ATTRIB */
    const uint8_t attrib[] = {0x1D, 0x00, 0x00, 0x00, 0x00,
                               0x00, 0x08, 0x01, 0x08};
    rx_len = sizeof(rx);
    if (grove_nfc_txrx(dev, attrib, 9, rx, &rx_len, 20) != 0) {
        grove_nfc_set_rf(dev, false);
        return false;
    }

    uint8_t uid_buf[16] = {0};
    size_t uid_len = (rx_len < sizeof(uid_buf)) ? rx_len : sizeof(uid_buf);
    memcpy(uid_buf, rx, uid_len);

    /* GET UID APDU (China ID card) */
    const uint8_t get_uid[] = {0x00, 0x36, 0x00, 0x00, 0x08};
    rx_len = sizeof(rx);
    if (grove_nfc_txrx(dev, get_uid, 5, rx, &rx_len, 30) == 0 && rx_len >= 4) {
        uid_len = (rx_len < sizeof(uid_buf)) ? rx_len : sizeof(uid_buf);
        memcpy(uid_buf, rx, uid_len);
    }

    grove_nfc_set_rf(dev, false);

    if (uid_len == 0) return false;

    strncpy(card->protocol, "ISO14443B", sizeof(card->protocol) - 1);
    bytes_to_hex(uid_buf, uid_len, card->uid, sizeof(card->uid), false);
    strncpy(card->detail, "ChinaID UID", sizeof(card->detail) - 1);
    card->valid = true;
    return true;
}

/* ── ISO15693 ────────────────────────────────────────────────────────────── */

static bool read_iso15(const struct device *dev, struct card_info *card)
{
    if (select_reader_common(dev) != 0) return false;
    grove_nfc_write_sys_reg(dev, GNFC_REG_RF_CFG,
                            GNFC_RFCFG_RD_15 | GNFC_RFCFG_TAG_15);
    grove_nfc_write_sys_reg(dev, GNFC_REG_TX_CRC_EN, GNFC_CRC_15);
    grove_nfc_write_sys_reg(dev, GNFC_REG_RX_CRC_EN, GNFC_CRC_15);
    grove_nfc_write_misc_reg(dev, GNFC_REG_TX_LAST_BIT, GNFC_TLB_0);
    grove_nfc_set_rf(dev, true);
    k_msleep(5);

    uint8_t rx[64] = {0};
    uint16_t rx_len = sizeof(rx);
    const uint8_t inv[] = {0x26, 0x01, 0x00};
    if (grove_nfc_txrx(dev, inv, 3, rx, &rx_len, 15) != 0 || rx_len < 10) {
        /* One retry with longer wait */
        grove_nfc_set_rf(dev, true);
        k_msleep(4);
        rx_len = sizeof(rx);
        if (grove_nfc_txrx(dev, inv, 3, rx, &rx_len, 100) != 0 || rx_len < 10)
            return false;
    }

    strncpy(card->protocol, "ISO15693",  sizeof(card->protocol) - 1);
    bytes_to_hex(&rx[2], 8, card->uid, sizeof(card->uid), true);
    strncpy(card->detail, "Inventory", sizeof(card->detail) - 1);
    card->valid = true;
    return true;
}

/* ── FeliCa ──────────────────────────────────────────────────────────────── */

static bool read_felica(const struct device *dev, struct card_info *card)
{
    if (select_reader_common(dev) != 0) return false;
    grove_nfc_write_sys_reg(dev, GNFC_REG_RF_CFG,
                            GNFC_RFCFG_RD_FLC | GNFC_RFCFG_TAG_FLC);
    grove_nfc_write_misc_reg(dev, GNFC_REG_SLOT,       GNFC_SLOT_0);
    grove_nfc_write_sys_reg(dev, GNFC_REG_TX_CRC_EN,   GNFC_CRC_FLC);
    grove_nfc_write_sys_reg(dev, GNFC_REG_RX_CRC_EN,   GNFC_CRC_FLC);
    grove_nfc_set_rf(dev, true);
    k_msleep(5);

    uint8_t rx[64] = {0};
    uint16_t rx_len = sizeof(rx);
    const uint8_t poll[] = {0x06, 0x00, 0xFF, 0xFF, 0x00, 0x00};
    if (grove_nfc_txrx(dev, poll, 6, rx, &rx_len, 15) != 0 || rx_len < 10)
        return false;

    strncpy(card->protocol, "FeliCa", sizeof(card->protocol) - 1);
    bytes_to_hex_compact(&rx[2], 8, card->uid, sizeof(card->uid));
    snprintf(card->detail, sizeof(card->detail),
             "IDm:%s PMm:%02X%02X", card->uid, rx[10], rx[11]);
    card->valid = true;
    return true;
}

/* ── NDEF parser (Type-2 tag) ────────────────────────────────────────────── */

static bool type2_read_block(const struct device *dev,
                              uint8_t start_page, uint8_t *out16)
{
    grove_nfc_write_sys_reg(dev, GNFC_REG_TX_CRC_EN, GNFC_CRC_14A);
    grove_nfc_write_sys_reg(dev, GNFC_REG_RX_CRC_EN, GNFC_CRC_14A);
    const uint8_t cmd[] = {0x30, start_page};
    uint16_t out_len = 16;
    return grove_nfc_txrx(dev, cmd, 2, out16, &out_len, 12) == 0 && out_len >= 16;
}

static const char *uri_prefix_lut[] = {
    "", "http://www.", "https://www.", "http://", "https://",
    "tel:", "mailto:", "ftp://anonymous:anonymous@", "ftp://ftp.",
    "ftps://", "sftp://", "smb://", "nfs://", "ftp://", "dav://",
    "news:", "telnet://", "imap:", "rtsp://", "urn:", "pop:",
    "sip:", "sips:", "tftp:", "btspp://", "btl2cap://", "btgoep://",
    "tcpobex://", "irdaobex://", "file://", "urn:epc:id:",
    "urn:epc:tag:", "urn:epc:pat:", "urn:epc:raw:", "urn:epc:", "urn:nfc:",
};

static size_t parse_ndef(const uint8_t *msg, size_t len,
                         char *out, size_t out_sz)
{
    size_t written = 0;
    size_t i = 0;
    while (i + 2 < len && written + 2 < out_sz) {
        uint8_t hdr      = msg[i++];
        bool    sr       = (hdr & 0x10) != 0;
        bool    il       = (hdr & 0x08) != 0;
        uint8_t tnf      = hdr & 0x07;
        uint8_t type_len = msg[i++];
        uint32_t pl_len;
        if (sr) { pl_len = msg[i++]; }
        else {
            if (i + 4 > len) break;
            pl_len = ((uint32_t)msg[i] << 24) | ((uint32_t)msg[i+1] << 16) |
                     ((uint32_t)msg[i+2] << 8) | msg[i+3];
            i += 4;
        }
        uint8_t id_len = il ? msg[i++] : 0;
        if (i + type_len + id_len + pl_len > len) break;
        const uint8_t *type_ptr = &msg[i];  i += type_len;
        i += id_len;
        const uint8_t *payload  = &msg[i];  i += pl_len;

        if (written > 0 && written + 2 < out_sz) out[written++] = '\n';

        if (tnf == 0x01 && type_len == 1 && type_ptr[0] == 'T' && pl_len >= 2) {
            uint8_t lang_len = payload[0] & 0x3F;
            if (pl_len > (size_t)(1 + lang_len)) {
                size_t txt_len = pl_len - 1 - lang_len;
                for (size_t k = 0; k < txt_len && written + 1 < out_sz; ++k) {
                    char c = (char)payload[1 + lang_len + k];
                    out[written++] = (c >= 0x20 && c <= 0x7E) ? c : '.';
                }
            }
        } else if (tnf == 0x01 && type_len == 1 && type_ptr[0] == 'U' && pl_len >= 1) {
            uint8_t pfx = payload[0];
            if (pfx < ARRAY_SIZE(uri_prefix_lut)) {
                const char *p = uri_prefix_lut[pfx];
                while (*p && written + 1 < out_sz) out[written++] = *p++;
            }
            for (size_t k = 1; k < pl_len && written + 1 < out_sz; ++k) {
                char c = (char)payload[k];
                out[written++] = (c >= 0x20 && c <= 0x7E) ? c : '.';
            }
        }
        if (hdr & 0x40) break; /* ME: message end */
    }
    if (written < out_sz) out[written] = '\0';
    return written;
}

/* ── Public API ─────────────────────────────────────────────────────────── */

void nfc_reader_reset(const struct device *dev)
{
    grove_nfc_set_rf(dev, false);
    k_msleep(2);
    grove_nfc_write_sys_reg(dev, GNFC_REG_MODE,
                            GNFC_MODE_DEFAULT | GNFC_MODE_TAG_NONE);
    k_msleep(5);
    grove_nfc_write_sys_reg(dev, GNFC_REG_FWI,       0x0000);
    grove_nfc_write_sys_reg(dev, GNFC_REG_TX_CRC_EN, GNFC_CRC_DISABLE);
    grove_nfc_write_sys_reg(dev, GNFC_REG_RX_CRC_EN, GNFC_CRC_DISABLE);
    grove_nfc_write_misc_reg(dev, GNFC_REG_TX_LAST_BIT, GNFC_TLB_0);
    grove_nfc_write_misc_reg(dev, GNFC_REG_THRU,        GNFC_THRU_OFF);
    grove_nfc_write_misc_reg(dev, GNFC_REG_EGT,         GNFC_EGT_6);
    grove_nfc_write_misc_reg(dev, GNFC_REG_SLOT,        GNFC_SLOT_0);
}

bool nfc_reader_recover(const struct device *dev)
{
    if (!grove_nfc_ping(dev)) return false;
    nfc_reader_reset(dev);
    return grove_nfc_ping(dev);
}

bool nfc_reader_read_any(const struct device *dev, struct card_info *card)
{
    memset(card, 0, sizeof(*card));
    if (read_iso14b_once(dev, card)) return true;
    if (read_iso14a(dev, card))      return true;
    if (read_iso15(dev, card))       return true;
    if (read_felica(dev, card))      return true;
    strncpy(card->protocol, "None",     sizeof(card->protocol) - 1);
    strncpy(card->detail,   "No card",  sizeof(card->detail) - 1);
    return false;
}

bool nfc_reader_read_14b(const struct device *dev, struct card_info *card)
{
    memset(card, 0, sizeof(*card));
    if (read_iso14b_once(dev, card)) return true;
    /* One retry after brief recovery */
    nfc_reader_recover(dev);
    k_msleep(20);
    return read_iso14b_once(dev, card);
}

bool nfc_reader_read_ndef(const struct device *dev,
                          char *text_buf, size_t text_len,
                          char *detail_buf, size_t detail_len)
{
    if (select_reader_common(dev) != 0) {
        strncpy(detail_buf, "Mode switch failed", detail_len - 1);
        return false;
    }
    grove_nfc_write_sys_reg(dev, GNFC_REG_RF_CFG,
                            GNFC_RFCFG_RD_14A | GNFC_RFCFG_TAG_14A);
    grove_nfc_write_sys_reg(dev, GNFC_REG_FWI,       0x0009);
    grove_nfc_write_sys_reg(dev, GNFC_REG_TX_CRC_EN, GNFC_CRC_DISABLE);
    grove_nfc_write_sys_reg(dev, GNFC_REG_RX_CRC_EN, GNFC_CRC_DISABLE);
    grove_nfc_write_misc_reg(dev, GNFC_REG_TX_LAST_BIT, GNFC_TLB_7);
    grove_nfc_set_rf(dev, true);
    k_msleep(5);

    /* Quick 4/7-byte UID acquisition (reuses selectISO14A logic) */
    uint8_t rx[64] = {0};
    uint16_t rx_len = sizeof(rx);
    const uint8_t reqa[] = {0x52};
    if (grove_nfc_txrx(dev, reqa, 1, rx, &rx_len, 10) != 0) {
        grove_nfc_set_rf(dev, false);
        strncpy(detail_buf, "No ISO14443A tag", detail_len - 1);
        return false;
    }
    grove_nfc_write_misc_reg(dev, GNFC_REG_TX_LAST_BIT, GNFC_TLB_0);
    const uint8_t ac1[] = {0x93, 0x20};
    rx_len = sizeof(rx);
    if (grove_nfc_txrx(dev, ac1, 2, rx, &rx_len, 10) != 0 || rx_len < 5) {
        grove_nfc_set_rf(dev, false);
        strncpy(detail_buf, "Anti-collision failed", detail_len - 1);
        return false;
    }
    grove_nfc_write_sys_reg(dev, GNFC_REG_TX_CRC_EN, GNFC_CRC_14A);
    grove_nfc_write_sys_reg(dev, GNFC_REG_RX_CRC_EN, GNFC_CRC_14A);
    const uint8_t sel1[] = {0x93, 0x70, rx[0], rx[1], rx[2], rx[3], rx[4]};
    rx_len = sizeof(rx);
    grove_nfc_txrx(dev, sel1, 7, rx, &rx_len, 10);

    /* Read pages 4..51 (4 pages per block = 16 bytes each) */
    uint8_t data[192] = {0};
    size_t  data_len  = 0;
    for (uint8_t page = 4; page < 52 && data_len + 16 <= sizeof(data); page += 4) {
        uint8_t block[16] = {0};
        if (!type2_read_block(dev, page, block)) break;
        memcpy(data + data_len, block, 16);
        data_len += 16;
    }
    grove_nfc_set_rf(dev, false);

    if (data_len < 8) {
        strncpy(detail_buf, "Read too short", detail_len - 1);
        return false;
    }

    /* Locate NDEF TLV (type=0x03) */
    size_t tlv = 0;
    while (tlv + 2 < data_len && data[tlv] != 0x03) {
        if (data[tlv] == 0x00) { ++tlv; continue; }
        if (data[tlv] == 0xFE) break;
        tlv += 2 + data[tlv + 1];
    }
    if (tlv + 2 >= data_len || data[tlv] != 0x03) {
        strncpy(detail_buf, "No NDEF TLV", detail_len - 1);
        return false;
    }

    size_t ndef_len, ndef_off;
    if (data[tlv + 1] == 0xFF) {
        if (tlv + 4 >= data_len) {
            strncpy(detail_buf, "NDEF length invalid", detail_len - 1);
            return false;
        }
        ndef_len = ((size_t)data[tlv + 2] << 8) | data[tlv + 3];
        ndef_off = tlv + 4;
    } else {
        ndef_len = data[tlv + 1];
        ndef_off = tlv + 2;
    }

    if (ndef_len == 0 || ndef_off + ndef_len > data_len) {
        strncpy(detail_buf, "NDEF payload invalid", detail_len - 1);
        return false;
    }

    size_t n = parse_ndef(data + ndef_off, ndef_len, text_buf, text_len);
    if (n == 0) {
        strncpy(detail_buf, "NDEF empty", detail_len - 1);
        return false;
    }
    strncpy(detail_buf, "Type2 NDEF", detail_len - 1);
    return true;
}

bool nfc_reader_self_check(const struct device *dev,
                           char *report, size_t report_len,
                           uint16_t *hw_ver, uint16_t *fw_ver)
{
    char line[48];
    report[0] = '\0';
    bool ok = true;

    bool ping_ok = grove_nfc_ping(dev);
    strncat(report, ping_ok ? "I2C: OK\n" : "I2C: FAIL\n",
            report_len - strlen(report) - 1);
    ok = ok && ping_ok;
    if (!ping_ok) { *hw_ver = 0; *fw_ver = 0; return false; }

    uint16_t hw = 0, fw = 0;
    grove_nfc_read_sys_reg(dev, GNFC_REG_HW_VER, &hw);
    grove_nfc_read_sys_reg(dev, GNFC_REG_FW_VER, &fw);
    *hw_ver = hw; *fw_ver = fw;
    snprintf(line, sizeof(line), "HW: 0x%04X  FW: 0x%04X\n", hw, fw);
    strncat(report, line, report_len - strlen(report) - 1);

    /* Mode register R/W verify */
    uint16_t mode_val = GNFC_MODE_DEFAULT | GNFC_MODE_TAG_NONE;
    grove_nfc_write_sys_reg(dev, GNFC_REG_MODE, mode_val);
    k_msleep(2);
    uint16_t mode_back = 0;
    grove_nfc_read_sys_reg(dev, GNFC_REG_MODE, &mode_back);
    bool mode_ok = (mode_back == mode_val);
    strncat(report, mode_ok ? "Mode R/W: OK\n" : "Mode R/W: FAIL\n",
            report_len - strlen(report) - 1);
    ok = ok && mode_ok;

    /* RF switch */
    grove_nfc_set_rf(dev, true);
    k_msleep(2);
    grove_nfc_set_rf(dev, false);
    strncat(report, "RF switch: OK", report_len - strlen(report) - 1);
    return ok;
}
```

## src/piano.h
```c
/*
 * piano.h — 8-note piano backed by NFC card UID mapping.
 */
#ifndef PIANO_H_
#define PIANO_H_

#include <stdint.h>
#include <stdbool.h>

#ifdef __cplusplus
extern "C" {
#endif

/** Initialize piano (loads mappings from storage). */
void piano_init(void);

/**
 * @brief Match a card UID to a note slot.
 * @return 0–7 note slot, or -1 if not mapped.
 */
int piano_match_card(const char *uid);

/**
 * @brief Play the tone for the given note slot and optionally
 *        bind the UID to that slot if it was not yet mapped.
 */
void piano_play_card(const char *uid);

/** Advance the current "bind slot" to the next note. */
void piano_advance_slot(void);

/** Return the current "bind slot" index (0–7). */
uint8_t piano_current_slot(void);

/** Directly play a note (0–7) for testing. */
void piano_play_note(uint8_t note);

#ifdef __cplusplus
}
#endif

#endif /* PIANO_H_ */
```
